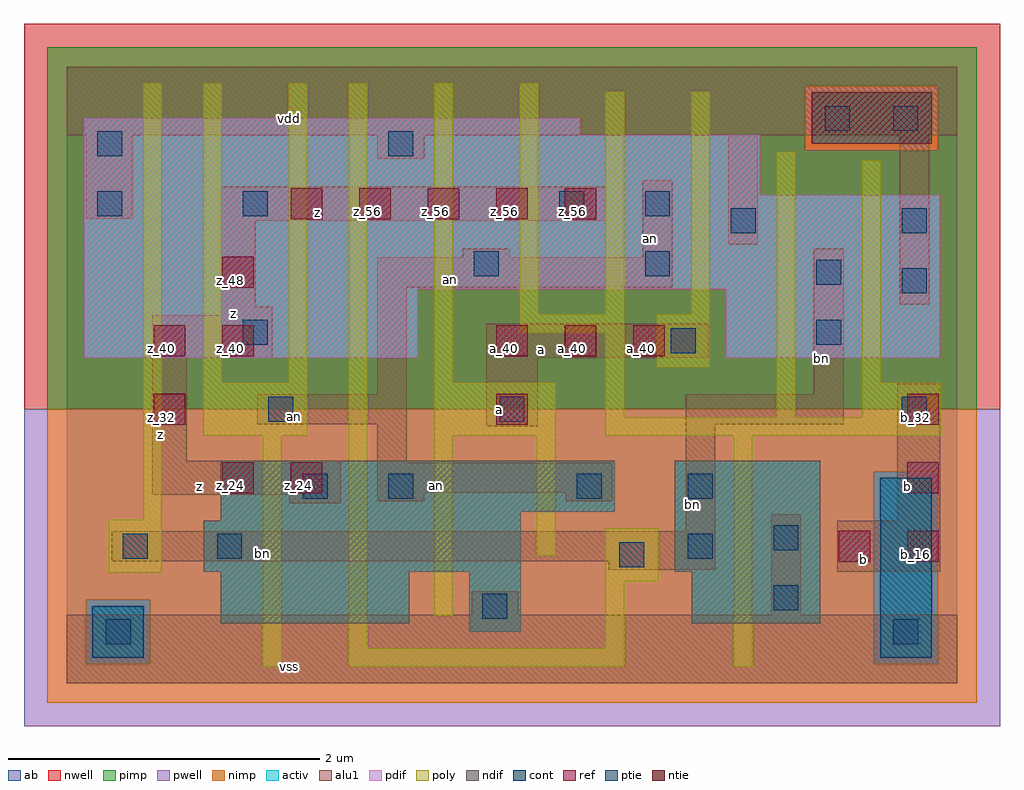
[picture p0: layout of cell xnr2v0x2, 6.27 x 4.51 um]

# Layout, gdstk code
import gdstk
lib = gdstk.Library(unit=1e-6, precision=2.5e-09)
def R(c, l, rs):  # rectangles x0, y0, x1, y1
    for r in rs: c.add(gdstk.rectangle(r[:2], r[2:], *l))
def A(c, l, x, y, w, h, nx, ny, dx, dy):  # array of equal rectangles
    R(c, l, [(x+i*dx, y+j*dy, x+i*dx+w, y+j*dy+h) for i in range(nx) for j in range(ny)])
ndif = (3, 0)
pdif = (4, 0)
ntie = (5, 0)
ptie = (6, 0)
ref = (24, 0)
cont = (25, 0)
pwell = (41, 0)
nwell = (42, 0)
activ = (43, 0)
pimp = (44, 0)
nimp = (45, 0)
poly = (46, 0)
alu1 = (49, 0)
ab = (63, 0)

xnr2v0x2 = lib.new_cell('xnr2v0x2')
R(xnr2v0x2, ndif, [(2.585,0.33,2.915,0.715), (0.99,0.385,2.2,0.715), (4.015,0.385,4.84,0.715), (0.88,0.715,2.915,1.045), (3.905,0.715,4.84,1.43), (0.99,1.045,2.915,1.1), (0.99,1.1,3.52,1.43)])
R(xnr2v0x2, pdif, [(0.11,2.09,2.255,2.53), (4.235,2.09,5.61,2.53), (0.11,2.53,5.61,3.135), (0.11,3.135,4.455,3.52), (0.11,3.52,3.3,3.63)])
R(xnr2v0x2, ntie, [(4.785,3.465,5.555,3.795)])
R(xnr2v0x2, ptie, [(0.165,0.165,0.495,0.495), (5.225,0.165,5.555,1.32)])
A(xnr2v0x2, ref, 5.4, 0.78, 0.2, 0.2, 1, 3, 0, 0.44)
A(xnr2v0x2, ref, 2.76, 2.1, 0.2, 0.2, 3, 1, 0.44, 0)
A(xnr2v0x2, ref, 1.44, 2.98, 0.2, 0.2, 5, 1, 0.44, 0)
R(xnr2v0x2, ref, [(4.96,0.78,5.16,0.98), (1,1.22,1.2,1.42), (1.44,1.22,1.64,1.42), (0.56,1.66,0.76,1.86), (2.76,1.66,2.96,1.86), (0.56,2.1,0.76,2.3), (1,2.1,1.2,2.3), (1,2.54,1.2,2.74)])
R(xnr2v0x2, cont, [(0.25,0.25,0.41,0.41), (5.31,0.25,5.47,0.41), (2.67,0.415,2.83,0.575), (4.54,0.47,4.7,0.63), (3.55,0.745,3.71,0.905), (0.36,0.8,0.52,0.96), (0.965,0.8,1.125,0.96), (3.99,0.8,4.15,0.96), (4.54,0.855,4.7,1.015), (1.515,1.185,1.675,1.345), (2.065,1.185,2.225,1.345), (3.275,1.185,3.435,1.345), (3.99,1.185,4.15,1.345), (1.295,1.68,1.455,1.84), (2.78,1.68,2.94,1.84), (5.365,1.68,5.525,1.84), (3.88,2.12,4.04,2.28), (1.13,2.175,1.29,2.335), (4.815,2.175,4.975,2.335), (5.365,2.505,5.525,2.665), (4.815,2.56,4.975,2.72), (2.615,2.615,2.775,2.775), (3.715,2.615,3.875,2.775), (4.265,2.89,4.425,3.05), (5.365,2.89,5.525,3.05), (0.195,3,0.355,3.16), (1.13,3,1.29,3.16), (3.165,3,3.325,3.16), (3.715,3,3.875,3.16), (0.195,3.385,0.355,3.545), (2.065,3.385,2.225,3.545), (4.87,3.55,5.03,3.71), (5.31,3.55,5.47,3.71)])
R(xnr2v0x2, pwell, [(-0.275,-0.275,5.995,1.76)])
R(xnr2v0x2, nwell, [(-0.275,1.76,5.995,4.235)])
R(xnr2v0x2, activ, [(0.165,0.165,0.495,0.495), (5.225,0.165,5.555,1.32), (2.585,0.33,2.915,0.715), (0.99,0.385,2.2,0.715), (4.015,0.385,4.84,0.715), (0.88,0.715,2.915,1.045), (3.905,0.715,4.84,1.43), (0.99,1.045,2.915,1.1), (0.99,1.1,3.52,1.43), (0.11,2.09,2.255,2.53), (4.235,2.09,5.61,2.53), (0.11,2.53,5.61,3.135), (0.11,3.135,4.455,3.52), (4.785,3.465,5.555,3.795), (0.11,3.52,3.3,3.63)])
R(xnr2v0x2, pimp, [(0.125,0.125,0.535,0.535), (5.185,0.125,5.595,1.36), (-0.125,1.76,5.845,3.425), (-0.125,3.425,4.745,3.835), (5.595,3.425,5.845,3.835), (-0.125,3.835,5.845,4.085)])
R(xnr2v0x2, nimp, [(-0.125,-0.125,5.845,0.125), (-0.125,0.125,0.125,0.535), (0.535,0.125,5.185,0.535), (5.595,0.125,5.845,1.36), (-0.125,0.535,5.185,1.36), (-0.125,1.36,5.845,1.76), (4.745,3.425,5.595,3.835)])
R(xnr2v0x2, poly, [(1.26,0.105,1.38,1.59), (1.81,0.105,3.58,0.225), (4.285,0.105,4.405,1.59), (1.81,0.225,1.93,3.855), (3.46,0.225,3.58,0.655), (2.36,0.435,2.48,1.59), (3.46,0.655,3.8,0.995), (0.27,0.71,0.61,1.05), (3.02,0.82,3.14,1.59), (0.49,1.05,0.61,3.855), (0.875,1.59,1.545,1.93), (2.36,1.59,3.14,1.93), (3.46,1.59,5.615,1.71), (3.46,1.71,3.58,2.25), (4.56,1.71,4.68,3.415), (5.11,1.71,5.615,1.93), (0.875,1.93,0.995,3.855), (1.425,1.93,1.545,3.855), (2.36,1.93,2.48,3.855), (5.11,1.93,5.23,3.36), (3.79,2.03,4.13,2.37), (2.91,2.25,3.58,2.37), (2.91,2.37,3.03,3.855), (3.46,2.37,3.58,3.8), (4.01,2.37,4.13,3.8)])
R(xnr2v0x2, alu1, [(0,0,5.72,0.44), (2.6,0.44,2.9,0.59), (4.525,0.44,4.715,1.085), (4.95,0.715,5.61,1.045), (3.48,0.73,4.165,0.785), (0.29,0.785,4.165,0.975), (3.975,0.975,4.165,1.665), (5.335,1.045,5.61,1.925), (1.43,1.155,1.76,1.21), (1.995,1.17,2.295,1.225), (3.205,1.17,3.505,1.225), (0.55,1.21,1.76,1.43), (1.995,1.225,3.505,1.415), (1.995,1.415,2.185,1.665), (0.55,1.43,0.77,2.09), (2.695,1.65,3.025,2.09), (1.225,1.665,2.185,1.855), (3.975,1.665,4.99,1.855), (1.995,1.855,2.185,2.545), (4.8,1.855,4.99,2.79), (0.55,2.09,1.32,2.365), (2.695,2.09,4.125,2.31), (0.99,2.365,1.32,2.42), (0.99,2.42,1.21,2.97), (5.35,2.435,5.54,3.52), (1.995,2.545,3.89,2.735), (2.545,2.735,2.845,2.79), (3.7,2.735,3.89,3.23), (4.25,2.82,4.44,3.52), (0.99,2.97,3.465,3.19), (0.125,2.985,0.425,3.52), (1.995,3.37,2.295,3.52), (0,3.52,5.72,3.96)])
R(xnr2v0x2, ab, [(0,0,5.72,3.96)])
xnr2v0x2.add(gdstk.Label('vss', (1.43,0.11), layer=49, texttype=0))
xnr2v0x2.add(gdstk.Label('b', (5.115,0.7975), layer=49, texttype=0))
xnr2v0x2.add(gdstk.Label('b', (5.4025,1.265), layer=49, texttype=0))
xnr2v0x2.add(gdstk.Label('bn', (1.2575,0.8325), layer=49, texttype=0))
xnr2v0x2.add(gdstk.Label('bn', (4.0225,1.1475), layer=49, texttype=0))
xnr2v0x2.add(gdstk.Label('an', (2.3725,1.2725), layer=49, texttype=0))
xnr2v0x2.add(gdstk.Label('bn', (4.8475,2.0875), layer=49, texttype=0))
xnr2v0x2.add(gdstk.Label('a', (2.7775,1.76), layer=49, texttype=0))
xnr2v0x2.add(gdstk.Label('a', (3.0525,2.145), layer=49, texttype=0))
xnr2v0x2.add(gdstk.Label('z', (0.8525,1.265), layer=49, texttype=0))
xnr2v0x2.add(gdstk.Label('an', (1.465,1.7125), layer=49, texttype=0))
xnr2v0x2.add(gdstk.Label('z', (0.605,1.595), layer=49, texttype=0))
xnr2v0x2.add(gdstk.Label('z', (1.0725,2.3775), layer=49, texttype=0))
xnr2v0x2.add(gdstk.Label('an', (2.4675,2.5925), layer=49, texttype=0))
xnr2v0x2.add(gdstk.Label('an', (3.7475,2.8575), layer=49, texttype=0))
xnr2v0x2.add(gdstk.Label('z', (1.6075,3.025), layer=49, texttype=0))
xnr2v0x2.add(gdstk.Label('vdd', (1.43,3.63), layer=49, texttype=0))
xnr2v0x2.add(gdstk.Label('z_48', (1.05,2.59), layer=24, texttype=0))
xnr2v0x2.add(gdstk.Label('z_56', (3.25,3.03), layer=24, texttype=0))
xnr2v0x2.add(gdstk.Label('z_56', (2.81,3.03), layer=24, texttype=0))
xnr2v0x2.add(gdstk.Label('z_56', (2.37,3.03), layer=24, texttype=0))
xnr2v0x2.add(gdstk.Label('z_56', (1.93,3.03), layer=24, texttype=0))
xnr2v0x2.add(gdstk.Label('z_56', (1.49,3.03), layer=24, texttype=0))
xnr2v0x2.add(gdstk.Label('z_24', (1.05,1.27), layer=24, texttype=0))
xnr2v0x2.add(gdstk.Label('z_40', (0.61,2.15), layer=24, texttype=0))
xnr2v0x2.add(gdstk.Label('z_32', (0.61,1.71), layer=24, texttype=0))
xnr2v0x2.add(gdstk.Label('z_24', (1.49,1.27), layer=24, texttype=0))
xnr2v0x2.add(gdstk.Label('z_40', (1.05,2.15), layer=24, texttype=0))
xnr2v0x2.add(gdstk.Label('a_40', (3.69,2.15), layer=24, texttype=0))
xnr2v0x2.add(gdstk.Label('a_40', (3.25,2.15), layer=24, texttype=0))
xnr2v0x2.add(gdstk.Label('a_40', (2.81,2.15), layer=24, texttype=0))
xnr2v0x2.add(gdstk.Label('b_32', (5.45,1.71), layer=24, texttype=0))
xnr2v0x2.add(gdstk.Label('b_24', (5.45,1.27), layer=24, texttype=0))
xnr2v0x2.add(gdstk.Label('b_16', (5.45,0.83), layer=24, texttype=0))
xnr2v0x2.add(gdstk.Label('b_16', (5.01,0.83), layer=24, texttype=0))
xnr2v0x2.add(gdstk.Label('a_32', (2.81,1.71), layer=24, texttype=0))

lib.write_gds('xnr2v0x2.gds')
